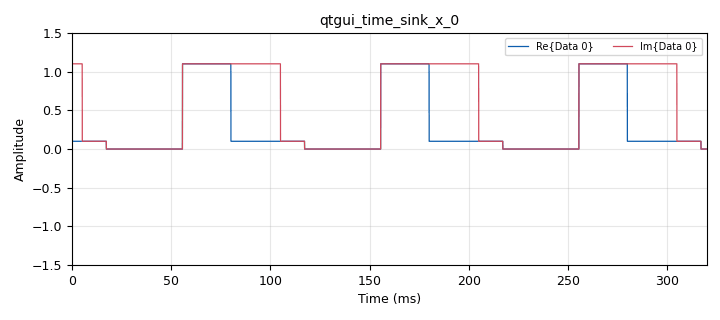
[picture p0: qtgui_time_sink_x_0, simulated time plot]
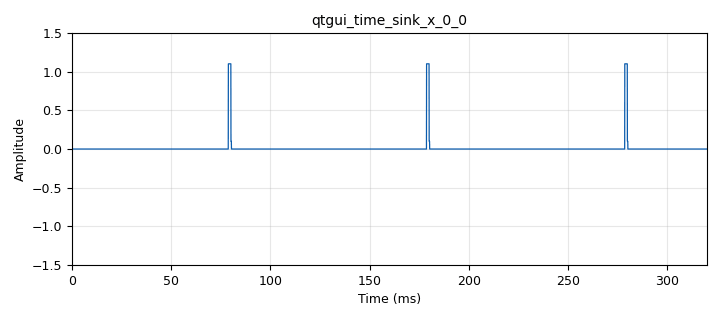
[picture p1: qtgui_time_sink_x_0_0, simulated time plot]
<?xml version='1.0' encoding='utf-8'?>
<?grc format='1' created='3.7.7'?>
<flow_graph>
<block>
<key>variable_qtgui_range</key>
<param><key>id</key><value>threshold</value></param>
<param><key>label</key><value>Threshold</value></param>
<param><key>value</key><value>0</value></param>
<param><key>start</key><value>-20</value></param>
<param><key>stop</key><value>20</value></param>
<param><key>step</key><value>1</value></param>
<param><key>orient</key><value>Qt.Horizontal</value></param>
<param><key>gui_hint</key><value>0,0,1,1</value></param>
</block>
<block>
<key>variable</key>
<param><key>id</key><value>samp_rate</value></param>
<param><key>value</key><value>32000</value></param>
</block>
<block>
<key>variable_qtgui_range</key>
<param><key>id</key><value>alpha</value></param>
<param><key>label</key><value>Alpha</value></param>
<param><key>value</key><value>0.001</value></param>
<param><key>start</key><value>0</value></param>
<param><key>stop</key><value>1</value></param>
<param><key>step</key><value>0.001</value></param>
<param><key>orient</key><value>Qt.Horizontal</value></param>
<param><key>gui_hint</key><value>0,1,1,1</value></param>
</block>
<block>
<key>analog_sig_source_x</key>
<param><key>id</key><value>analog_sig_source_x_0_0</value></param>
<param><key>type</key><value>float</value></param>
<param><key>samp_rate</key><value>samp_rate</value></param>
<param><key>waveform</key><value>analog.GR_SQR_WAVE</value></param>
<param><key>freq</key><value>10</value></param>
<param><key>amp</key><value>1</value></param>
<param><key>offset</key><value>0.1</value></param>
</block>
<block>
<key>analog_sig_source_x</key>
<param><key>id</key><value>analog_sig_source_x_0</value></param>
<param><key>type</key><value>complex</value></param>
<param><key>samp_rate</key><value>samp_rate</value></param>
<param><key>waveform</key><value>analog.GR_SQR_WAVE</value></param>
<param><key>freq</key><value>10</value></param>
<param><key>amp</key><value>1</value></param>
<param><key>offset</key><value>0.1+0.1j</value></param>
</block>
<block>
<key>options</key>
<param><key>id</key><value>analog_pwr_squelch</value></param>
<param><key>generate_options</key><value>qt_gui</value></param>
<param><key>category</key><value>Custom</value></param>
<param><key>run_options</key><value>run</value></param>
</block>
<block>
<key>qtgui_time_sink_x</key>
<param><key>id</key><value>qtgui_time_sink_x_0</value></param>
<param><key>type</key><value>complex</value></param>
<param><key>name</key><value></value></param>
<param><key>size</key><value>10240</value></param>
<param><key>srate</key><value>samp_rate</value></param>
<param><key>ymin</key><value>-1.5</value></param>
<param><key>ymax</key><value>1.5</value></param>
<param><key>gui_hint</key><value>1,0,1,2</value></param>
<param><key>label1</key><value></value></param>
<param><key>color1</key><value>"blue"</value></param>
<param><key>label2</key><value></value></param>
<param><key>color2</key><value>"red"</value></param>
</block>
<block>
<key>analog_pwr_squelch_xx</key>
<param><key>id</key><value>analog_pwr_squelch_xx_0_0</value></param>
<param><key>type</key><value>float</value></param>
<param><key>threshold</key><value>threshold</value></param>
<param><key>alpha</key><value>alpha</value></param>
<param><key>ramp</key><value>0</value></param>
<param><key>gate</key><value>False</value></param>
</block>
<block>
<key>analog_pwr_squelch_xx</key>
<param><key>id</key><value>analog_pwr_squelch_xx_0</value></param>
<param><key>type</key><value>complex</value></param>
<param><key>threshold</key><value>threshold</value></param>
<param><key>alpha</key><value>alpha</value></param>
<param><key>ramp</key><value>0</value></param>
<param><key>gate</key><value>False</value></param>
</block>
<block>
<key>blocks_throttle</key>
<param><key>id</key><value>blocks_throttle_0_0</value></param>
<param><key>type</key><value>float</value></param>
<param><key>samples_per_second</key><value>samp_rate</value></param>
</block>
<block>
<key>blocks_throttle</key>
<param><key>id</key><value>blocks_throttle_0</value></param>
<param><key>type</key><value>complex</value></param>
<param><key>samples_per_second</key><value>samp_rate</value></param>
</block>
<block>
<key>qtgui_time_sink_x</key>
<param><key>id</key><value>qtgui_time_sink_x_0_0</value></param>
<param><key>type</key><value>float</value></param>
<param><key>name</key><value></value></param>
<param><key>size</key><value>10240</value></param>
<param><key>srate</key><value>samp_rate</value></param>
<param><key>ymin</key><value>-1.5</value></param>
<param><key>ymax</key><value>1.5</value></param>
<param><key>gui_hint</key><value>2,0,1,2</value></param>
<param><key>label1</key><value></value></param>
<param><key>color1</key><value>"blue"</value></param>
</block>
<connection><source_block_id>analog_sig_source_x_0</source_block_id><sink_block_id>blocks_throttle_0</sink_block_id><source_key>0</source_key><sink_key>0</sink_key></connection>
<connection><source_block_id>analog_sig_source_x_0_0</source_block_id><sink_block_id>blocks_throttle_0_0</sink_block_id><source_key>0</source_key><sink_key>0</sink_key></connection>
<connection><source_block_id>blocks_throttle_0_0</source_block_id><sink_block_id>analog_pwr_squelch_xx_0_0</sink_block_id><source_key>0</source_key><sink_key>0</sink_key></connection>
<connection><source_block_id>blocks_throttle_0</source_block_id><sink_block_id>analog_pwr_squelch_xx_0</sink_block_id><source_key>0</source_key><sink_key>0</sink_key></connection>
<connection><source_block_id>analog_pwr_squelch_xx_0_0</source_block_id><sink_block_id>qtgui_time_sink_x_0_0</sink_block_id><source_key>0</source_key><sink_key>0</sink_key></connection>
<connection><source_block_id>analog_pwr_squelch_xx_0</source_block_id><sink_block_id>qtgui_time_sink_x_0</sink_block_id><source_key>0</source_key><sink_key>0</sink_key></connection>
</flow_graph>
